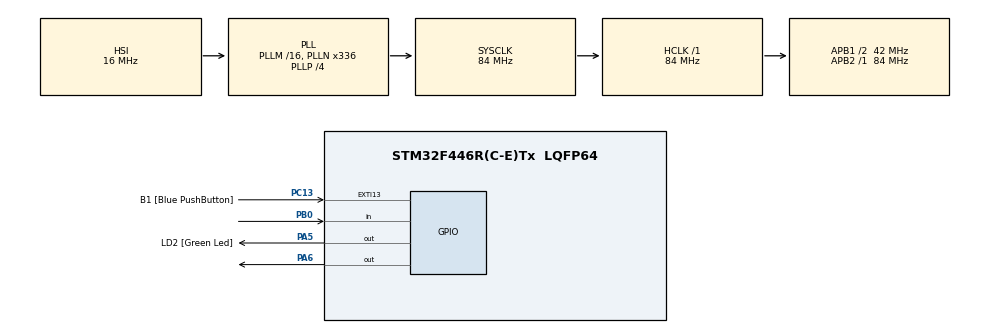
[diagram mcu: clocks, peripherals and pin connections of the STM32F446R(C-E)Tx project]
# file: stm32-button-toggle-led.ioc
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Mcu.Family=STM32F4
Mcu.Name=STM32F446R(C-E)Tx
Mcu.Package=LQFP64
NVIC.PriorityGroup=NVIC_PRIORITYGROUP_0
PA13.GPIO_Label=TMS
PA13.Signal=SYS_JTMS-SWDIO
PA14.GPIO_Label=TCK
PA14.Signal=SYS_JTCK-SWCLK
PA2.GPIO_Label=USART_TX
PA2.Signal=USART2_TX
PA3.GPIO_Label=USART_RX
PA3.Signal=USART2_RX
PA5.GPIO_Label=LD2 [Green Led]
PA5.Signal=GPIO_Output
PA6.Signal=GPIO_Output
PB0.Signal=GPIO_Input
PB3.GPIO_Label=SWO
PB3.Signal=SYS_JTDO-SWO
PC13.GPIO_Label=B1 [Blue PushButton]
PC13.GPIO_ModeDefaultEXTI=GPIO_MODE_IT_FALLING
PC13.Signal=GPXTI13
PC14-OSC32_IN.Signal=RCC_OSC32_IN
PC15-OSC32_OUT.Signal=RCC_OSC32_OUT
PH0-OSC_IN.Signal=RCC_OSC_IN
PH1-OSC_OUT.Signal=RCC_OSC_OUT
ProjectManager.HeapSize=0x200
ProjectManager.StackSize=0x400
ProjectManager.TargetToolchain=STM32CubeIDE
RCC.AHBFreq_Value=84000000
RCC.APB1CLKDivider=RCC_HCLK_DIV2
RCC.APB1Freq_Value=42000000
RCC.APB1TimFreq_Value=84000000
RCC.APB2Freq_Value=84000000
RCC.APB2TimFreq_Value=84000000
RCC.CortexFreq_Value=84000000
RCC.FLatency-AdvancedSettings=FLASH_LATENCY_2
RCC.HCLKFreq_Value=84000000
RCC.HSE_VALUE=8000000
RCC.HSI_VALUE=16000000
RCC.LSE_VALUE=32768
RCC.PLLN=336
RCC.PLLP=RCC_PLLP_DIV4
RCC.SYSCLKFreq_VALUE=84000000
RCC.SYSCLKSource=RCC_SYSCLKSOURCE_PLLCLK
RCC.USBFreq_Value=168000000
RCC.VCOOutputFreq_Value=336000000
board=NUCLEO-F446RE

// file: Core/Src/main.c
/* USER CODE BEGIN Header */
/**
  ******************************************************************************
  * @file           : main.c
  * @brief          : Main program body
  ******************************************************************************
  * @attention
  *
  * Copyright (c) 2026 STMicroelectronics.
  * All rights reserved.
  *
  * This software is licensed under terms that can be found in the LICENSE file
  * in the root directory of this software component.
  * If no LICENSE file comes with this software, it is provided AS-IS.
  *
  ******************************************************************************
  */
/* USER CODE END Header */
#include "main.h"

void SystemClock_Config(void);
static void MX_GPIO_Init(void);

int main(void)
{

  /* MCU Configuration--------------------------------------------------------*/

  /* Reset of all peripherals, Initializes the Flash interface and the Systick. */
  HAL_Init();

  /* Configure the system clock */
  SystemClock_Config();

  /* Initialize all configured peripherals */
  MX_GPIO_Init();
  /* USER CODE BEGIN 2 */

  uint8_t led_state = 0;
  uint8_t button_previous = GPIO_PIN_SET;

  /* USER CODE END 2 */

  /* Infinite loop */
	while (1) {

		/* USER CODE BEGIN 3 */

		uint8_t button_current = HAL_GPIO_ReadPin(GPIOB, GPIO_PIN_0);

		if (button_previous == GPIO_PIN_SET
				&& button_current == GPIO_PIN_RESET) {
			HAL_Delay(20);

			if (HAL_GPIO_ReadPin(GPIOB, GPIO_PIN_0) == GPIO_PIN_RESET)
			{
				led_state = !led_state;

				HAL_GPIO_WritePin(
					GPIOA,
					GPIO_PIN_6,
					led_state ? GPIO_PIN_SET : GPIO_PIN_RESET
				);

				// Wait until the button is released
				while(HAL_GPIO_ReadPin(GPIOB, GPIO_PIN_0) == GPIO_PIN_RESET)
				{

				}
			}
		}

		button_previous = button_current;

	}
  /* USER CODE END 3 */
}

void SystemClock_Config(void)
{
  RCC_OscInitTypeDef RCC_OscInitStruct = {0};
  RCC_ClkInitTypeDef RCC_ClkInitStruct = {0};

  /** Configure the main internal regulator output voltage
  */
  __HAL_RCC_PWR_CLK_ENABLE();
  __HAL_PWR_VOLTAGESCALING_CONFIG(PWR_REGULATOR_VOLTAGE_SCALE3);

  /** Initializes the RCC Oscillators according to the specified parameters
  * in the RCC_OscInitTypeDef structure.
  */
  RCC_OscInitStruct.OscillatorType = RCC_OSCILLATORTYPE_HSI;
  RCC_OscInitStruct.HSIState = RCC_HSI_ON;
  RCC_OscInitStruct.HSICalibrationValue = RCC_HSICALIBRATION_DEFAULT;
  RCC_OscInitStruct.PLL.PLLState = RCC_PLL_ON;
  RCC_OscInitStruct.PLL.PLLSource = RCC_PLLSOURCE_HSI;
  RCC_OscInitStruct.PLL.PLLM = 16;
  RCC_OscInitStruct.PLL.PLLN = 336;
  RCC_OscInitStruct.PLL.PLLP = RCC_PLLP_DIV4;
  RCC_OscInitStruct.PLL.PLLQ = 2;
  RCC_OscInitStruct.PLL.PLLR = 2;
  if (HAL_RCC_OscConfig(&RCC_OscInitStruct) != HAL_OK)
  {
    Error_Handler();
  }

  /** Initializes the CPU, AHB and APB buses clocks
  */
  RCC_ClkInitStruct.ClockType = RCC_CLOCKTYPE_HCLK|RCC_CLOCKTYPE_SYSCLK
                              |RCC_CLOCKTYPE_PCLK1|RCC_CLOCKTYPE_PCLK2;
  RCC_ClkInitStruct.SYSCLKSource = RCC_SYSCLKSOURCE_PLLCLK;
  RCC_ClkInitStruct.AHBCLKDivider = RCC_SYSCLK_DIV1;
  RCC_ClkInitStruct.APB1CLKDivider = RCC_HCLK_DIV2;
  RCC_ClkInitStruct.APB2CLKDivider = RCC_HCLK_DIV1;

  if (HAL_RCC_ClockConfig(&RCC_ClkInitStruct, FLASH_LATENCY_2) != HAL_OK)
  {
    Error_Handler();
  }
}

static void MX_GPIO_Init(void)
{
  GPIO_InitTypeDef GPIO_InitStruct = {0};

  /* GPIO Ports Clock Enable */
  __HAL_RCC_GPIOC_CLK_ENABLE();
  __HAL_RCC_GPIOH_CLK_ENABLE();
  __HAL_RCC_GPIOA_CLK_ENABLE();
  __HAL_RCC_GPIOB_CLK_ENABLE();

  /*Configure GPIO pin Output Level */
  HAL_GPIO_WritePin(GPIOA, LD2_Pin|GPIO_PIN_6, GPIO_PIN_RESET);

  /*Configure GPIO pin : B1_Pin */
  GPIO_InitStruct.Pin = B1_Pin;
  GPIO_InitStruct.Mode = GPIO_MODE_IT_FALLING;
  GPIO_InitStruct.Pull = GPIO_NOPULL;
  HAL_GPIO_Init(B1_GPIO_Port, &GPIO_InitStruct);

  /*Configure GPIO pins : USART_TX_Pin USART_RX_Pin */
  GPIO_InitStruct.Pin = USART_TX_Pin|USART_RX_Pin;
  GPIO_InitStruct.Mode = GPIO_MODE_AF_PP;
  GPIO_InitStruct.Pull = GPIO_NOPULL;
  GPIO_InitStruct.Speed = GPIO_SPEED_FREQ_VERY_HIGH;
  GPIO_InitStruct.Alternate = GPIO_AF7_USART2;
  HAL_GPIO_Init(GPIOA, &GPIO_InitStruct);

  /*Configure GPIO pins : LD2_Pin PA6 */
  GPIO_InitStruct.Pin = LD2_Pin|GPIO_PIN_6;
  GPIO_InitStruct.Mode = GPIO_MODE_OUTPUT_PP;
  GPIO_InitStruct.Pull = GPIO_NOPULL;
  GPIO_InitStruct.Speed = GPIO_SPEED_FREQ_LOW;
  HAL_GPIO_Init(GPIOA, &GPIO_InitStruct);

  /*Configure GPIO pin : PB0 */
  GPIO_InitStruct.Pin = GPIO_PIN_0;
  GPIO_InitStruct.Mode = GPIO_MODE_INPUT;
  GPIO_InitStruct.Pull = GPIO_NOPULL;
  HAL_GPIO_Init(GPIOB, &GPIO_InitStruct);

}

void Error_Handler(void)
{
  __disable_irq();
  while (1)
  {
  }
}
